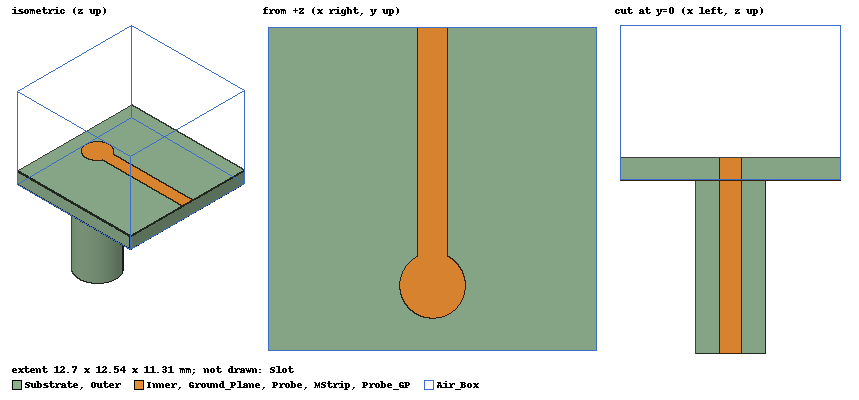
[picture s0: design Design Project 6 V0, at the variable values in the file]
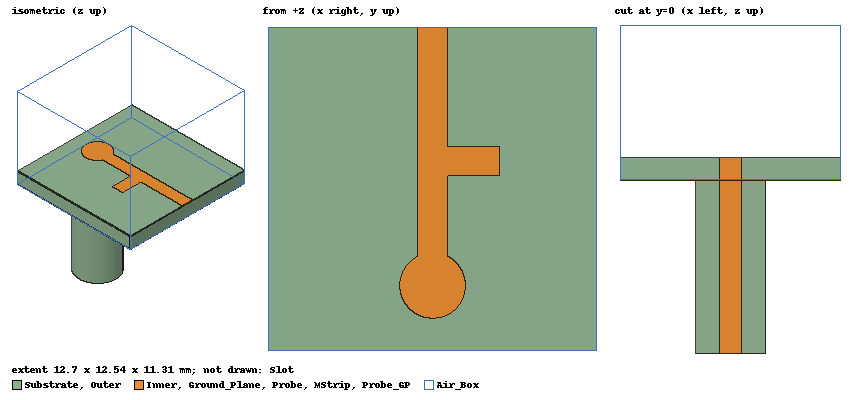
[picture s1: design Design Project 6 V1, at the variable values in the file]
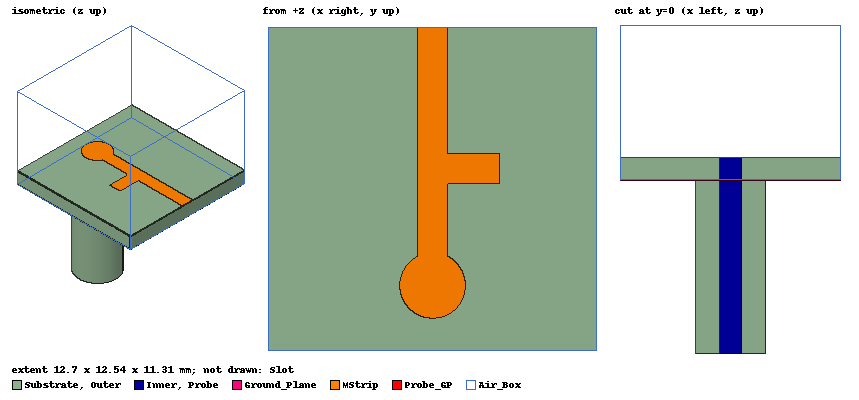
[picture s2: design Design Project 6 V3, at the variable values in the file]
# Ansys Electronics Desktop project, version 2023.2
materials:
  vacuum: permittivity=1
  Rogers RT/duroid 6010/6010LM (tm): permittivity=10.7 dielectric_loss_tangent=0.0023
  copper: permeability=0.999991 conductivity=58000000
  Teflon (tm): permittivity=2.1 dielectric_loss_tangent=0.001

design Design Project 6 V0 (HFSS, HFSS Modal Network, model units mm)
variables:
  h = 1.27mm
  W = 1.13555mm
  A = 12.7mm
  B = 7*h
  ds = 2.54mm
  Lm = 10mm
  C = ds+Lm
  ri = 0.635mm
  LC = 10mm
  ro = 2.032mm
  rp = 2*ri
  d0 = ro
  t = 18um
  dp1 = Lm-d0
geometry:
  Air_Box [vacuum] = box(corner=(-.5*A, -ds, 0), size=(A, C, B))
  Substrate [Rogers RT/duroid 6010/6010LM (tm)] = box(corner=(-.5*A, -ds, 0), size=(A, C, h))
  MStrip [copper] = box(corner=(-.5*W, 0, h), size=(W, Lm, t))
  Ground_Plane [copper] = box(corner=(-.5*A, -ds, 0), size=(A, C, -t))
  Inner [copper] = cylinder(axis=Z, base_centre=(0mm, 0mm, -t), radius=ri, height=-LC)
  Outer [Teflon (tm)] = cylinder(axis=Z, base_centre=(0mm, 0mm, -t), radius=ro, height=-LC)
  Probe [copper] = cylinder(axis=Z, base_centre=(0mm, 0mm, 0), radius=ri, height=h)
  Probe_GP [copper] = cylinder(axis=Z, base_centre=(0mm, 0mm, 0), radius=ri, height=-t)
  Slot [vacuum] = cylinder(axis=Z, base_centre=(0mm, 0mm, 0), radius=ro, height=-t)
  Pad = cylinder(axis=Z, base_centre=(0, 0, h), radius=rp, height=t)
  MStrip.unite(Pad)
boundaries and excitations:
  1: Wave Port Faces=Air_Box.face(+y) WavePortType=Modal NumModes=1 DeembedDist=dp1 Modes{Mode1{CharImp=Zpi}}
  2: Wave Port Faces=Outer.face(-z end) WavePortType=Modal NumModes=1 DeembedDist=Lm Modes{Mode1{CharImp=Zpi}}
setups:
  Setup1: HfssDriven Frequency=5GHz MaxDeltaS=0.001 MaximumPasses=35 MinimumPasses=1 MinimumConvergedPasses=1 PercentRefinement=30 BasisOrder=2 PortAccuracy=2 DrivenSolverType="Iterative Solver" IterativeResidual=1e-06 DDMSolverResidual=0.0001
    sweep Sweep: 3GHz to 7GHz step 25MHz; Type=Interpolating InterpTolerance=0.5 InterpMaxSolns=250 InterpUsePortImped=false PassivityErrorTolerance=0.0001
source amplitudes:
  1:1: 1W 0deg
  2:1: 0W 0deg
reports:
  S Parameter Chart 1: S(1,1) on Setup1 : Sweep [Freq=all]; markers m1 at 5GHz
  S Parameter Plot 1: dB(S(1,1)) vs Freq on Setup1 : Sweep
  S Parameter Plot 2: dB(S(2,1)) vs Freq on Setup1 : Sweep
  S Parameter Plot 3: dB(S(1,1)), dB(S(2,1)) vs Freq on Setup1 : Sweep; markers m1 at 5GHz
  S Parameter Chart 2: S(2,2) on Setup1 : Sweep [Freq=all]; markers m1 at 5GHz

design Design Project 6 V1 (HFSS, HFSS Modal Network, model units mm)
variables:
  h = 1.27mm
  W = 1.13555mm
  A = 12.7mm
  B = 7*h
  ds = 2.54mm
  Lm = 10mm
  C = ds+Lm
  ri = 0.635mm
  LC = 10mm
  ro = 2.032mm
  rp = 2*ri
  d0 = ro
  t = 18um
  dp1 = Lm-d0
  d1 = 2.2066mm
  d2 = 2.03009mm
  dpx = 2.75828mm
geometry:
  Air_Box [vacuum] = box(corner=(-.5*A, -ds, 0), size=(A, C, B))
  Substrate [Rogers RT/duroid 6010/6010LM (tm)] = box(corner=(-.5*A, -ds, 0), size=(A, C, h))
  MStrip [copper] = box(corner=(-.5*W, 0, h), size=(W, Lm, t))
  Ground_Plane [copper] = box(corner=(-.5*A, -ds, 0), size=(A, C, -t))
  Inner [copper] = cylinder(axis=Z, base_centre=(0mm, 0mm, -t), radius=ri, height=-LC)
  Outer [Teflon (tm)] = cylinder(axis=Z, base_centre=(0mm, 0mm, -t), radius=ro, height=-LC)
  Probe [copper] = cylinder(axis=Z, base_centre=(0mm, 0mm, 0), radius=ri, height=h)
  Probe_GP [copper] = cylinder(axis=Z, base_centre=(0mm, 0mm, 0), radius=ri, height=-t)
  Slot [vacuum] = cylinder(axis=Z, base_centre=(0mm, 0mm, 0), radius=ro, height=-t)
  Pad = cylinder(axis=Z, base_centre=(0, 0, h), radius=rp, height=t)
  MStrip.unite(Pad)
  Stub = box(corner=(0.5*W, d0+d1, h), size=(d2, W, t))
  MStrip.unite(Stub)
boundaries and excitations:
  1: Wave Port Faces=Air_Box.face(+y) WavePortType=Modal NumModes=1 DeembedDist=dp1 Modes{Mode1{CharImp=Zpi}}
  2: Wave Port Faces=Outer.face(-z end) WavePortType=Modal NumModes=1 DeembedDist=Lm Modes{Mode1{CharImp=Zpi}}
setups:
  Setup1: HfssDriven Frequency=5GHz MaxDeltaS=0.001 MaximumPasses=35 MinimumPasses=1 MinimumConvergedPasses=1 PercentRefinement=30 BasisOrder=2 PortAccuracy=2 DrivenSolverType="Iterative Solver" IterativeResidual=1e-06 DDMSolverResidual=0.0001
    sweep Sweep: 3GHz to 7GHz step 25MHz; Type=Interpolating InterpTolerance=0.5 InterpMaxSolns=250 InterpUsePortImped=false PassivityErrorTolerance=0.0001
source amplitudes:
  1:1: 1W 0deg
  2:1: 0W 0deg
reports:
  S Parameter Chart 1: S(1,1) on Setup1 : Sweep [Freq=all]; markers m1 at 5GHz
  S Parameter Plot 1: dB(S(1,1)), dB(S(2,1)) vs Freq on Setup1 : Sweep
  S Parameter Chart 2: S(2,2) on Setup1 : Sweep [Freq=all]; markers m1 at 5.225GHz

design Design Project 6 V3 (HFSS, HFSS Modal Network, model units mm)
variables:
  h = 1.27mm
  W = 1.13555mm
  A = 12.7mm
  B = 7*h
  ds = 2.54mm
  Lm = 10mm
  C = ds+Lm
  ri = 0.635mm
  LC = 10mm
  ro = 2.032mm
  rp = 2*ri
  d0 = ro
  t = 18um
  dp1 = Lm-d0
  d1 = 2.2066mm
  d2 = 2.03009mm
  dpx = 2.75828mm
  dp1_new = 0.87*d1
  d1_new = dp1_new
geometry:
  Air_Box [vacuum] = box(corner=(-.5*A, -ds, 0), size=(A, C, B))
  Substrate [Rogers RT/duroid 6010/6010LM (tm)] = box(corner=(-.5*A, -ds, 0), size=(A, C, h))
  MStrip [copper] = box(corner=(-.5*W, 0, h), size=(W, Lm, t))
  Ground_Plane [copper] = box(corner=(-.5*A, -ds, 0), size=(A, C, -t))
  Inner [copper] = cylinder(axis=Z, base_centre=(0mm, 0mm, -t), radius=ri, height=-LC)
  Outer [Teflon (tm)] = cylinder(axis=Z, base_centre=(0mm, 0mm, -t), radius=ro, height=-LC)
  Probe [copper] = cylinder(axis=Z, base_centre=(0mm, 0mm, 0), radius=ri, height=h)
  Probe_GP [copper] = cylinder(axis=Z, base_centre=(0mm, 0mm, 0), radius=ri, height=-t)
  Slot [vacuum] = cylinder(axis=Z, base_centre=(0mm, 0mm, 0), radius=ro, height=-t)
  Pad = cylinder(axis=Z, base_centre=(0, 0, h), radius=rp, height=t)
  MStrip.unite(Pad)
  Stub = box(corner=(0.5*W, d0+d1_new, h), size=(d2, W, t))
  MStrip.unite(Stub)
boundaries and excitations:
  1: Wave Port Faces=Air_Box.face(+y) WavePortType=Modal NumModes=1 DeembedDist=dpx Modes{Mode1{CharImp=Zpi}}
  2: Wave Port Faces=Outer.face(-z end) WavePortType=Modal NumModes=1 DeembedDist=Lm Modes{Mode1{CharImp=Zpi}}
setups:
  Setup1: HfssDriven Frequency=5GHz MaxDeltaS=0.001 MaximumPasses=35 MinimumPasses=1 MinimumConvergedPasses=1 PercentRefinement=30 BasisOrder=2 PortAccuracy=2 DrivenSolverType="Iterative Solver" IterativeResidual=1e-06 DDMSolverResidual=0.0001
    sweep Sweep: 3GHz to 7GHz step 25MHz; Type=Interpolating InterpTolerance=0.5 InterpMaxSolns=250 InterpUsePortImped=false PassivityErrorTolerance=0.0001
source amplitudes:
  1:1: 1W 0deg
  2:1: 0W 0deg
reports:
  S Parameter Chart 1: S(1,1) on Setup1 : Sweep [Freq=all]; markers m1 at 5GHz
  S Parameter Plot 1: dB(S(1,1)), dB(S(2,1)) vs Freq on Setup1 : Sweep
  S Parameter Chart 2: S(2,2) on Setup1 : Sweep [Freq=all]; markers m1 at 5.225GHz
  S Parameter Plot 2: dB(S(1,1)) vs Freq on Setup1 : Sweep; markers m1 at 5GHz
  S Parameter Plot 3: dB(S(2,1)) vs Freq on Setup1 : Sweep; markers m1 at 5GHz
